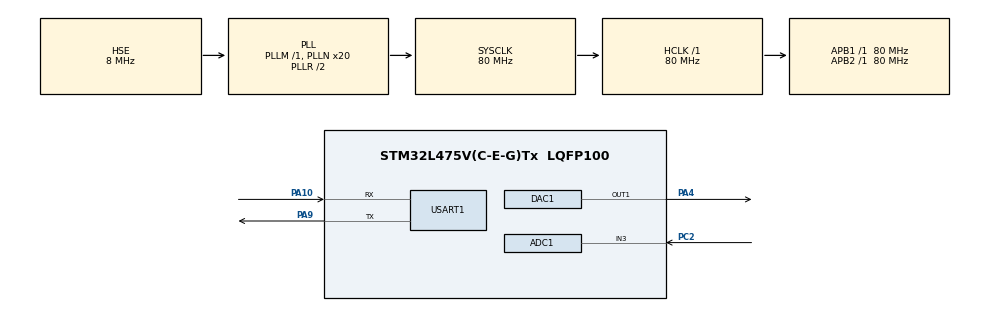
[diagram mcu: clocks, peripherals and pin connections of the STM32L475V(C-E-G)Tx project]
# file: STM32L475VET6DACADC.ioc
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ADC1.Channel-0\#ChannelRegularConversion=ADC_CHANNEL_3
ADC1.ClockPrescaler=ADC_CLOCK_SYNC_PCLK_DIV2
ADC1.EnableInjectedConversion=ENABLE
ADC1.NbrOfConversionFlag=1
ADC1.OffsetNumber-0\#ChannelRegularConversion=ADC_OFFSET_NONE
ADC1.Rank-0\#ChannelRegularConversion=1
ADC1.SamplingTime-0\#ChannelRegularConversion=ADC_SAMPLETIME_2CYCLES_5
ADC1.master=1
Mcu.Family=STM32L4
Mcu.Name=STM32L475V(C-E-G)Tx
Mcu.Package=LQFP100
NVIC.ADC1_2_IRQn=true\:0\:0\:false\:false\:true\:true\:true\:true
NVIC.PriorityGroup=NVIC_PRIORITYGROUP_4
PA10.Mode=Asynchronous
PA10.Signal=USART1_RX
PA13\ (JTMS-SWDIO).Mode=Serial_Wire
PA13\ (JTMS-SWDIO).Signal=SYS_JTMS-SWDIO
PA14\ (JTCK-SWCLK).Mode=Serial_Wire
PA14\ (JTCK-SWCLK).Signal=SYS_JTCK-SWCLK
PA4.Signal=COMP_DAC11_group
PA9.Mode=Asynchronous
PA9.Signal=USART1_TX
PC14-OSC32_IN\ (PC14).Mode=LSE-External-Oscillator
PC14-OSC32_IN\ (PC14).Signal=RCC_OSC32_IN
PC15-OSC32_OUT\ (PC15).Mode=LSE-External-Oscillator
PC15-OSC32_OUT\ (PC15).Signal=RCC_OSC32_OUT
PC2.Signal=ADCx_IN3
PH0-OSC_IN\ (PH0).Mode=HSE-External-Oscillator
PH0-OSC_IN\ (PH0).Signal=RCC_OSC_IN
PH1-OSC_OUT\ (PH1).Mode=HSE-External-Oscillator
PH1-OSC_OUT\ (PH1).Signal=RCC_OSC_OUT
ProjectManager.HeapSize=0x200
ProjectManager.StackSize=0x400
ProjectManager.TargetToolchain=MDK-ARM V5.32
RCC.ADCFreq_Value=32000000
RCC.AHBFreq_Value=80000000
RCC.APB1Freq_Value=80000000
RCC.APB1TimFreq_Value=80000000
RCC.APB2Freq_Value=80000000
RCC.APB2TimFreq_Value=80000000
RCC.CortexFreq_Value=80000000
RCC.HCLKFreq_Value=80000000
RCC.HSE_VALUE=8000000
RCC.HSI_VALUE=16000000
RCC.MSI_VALUE=4000000
RCC.PLLN=20
RCC.PLLSourceVirtual=RCC_PLLSOURCE_HSE
RCC.SYSCLKFreq_VALUE=80000000
RCC.SYSCLKSource=RCC_SYSCLKSOURCE_PLLCLK
RCC.USBFreq_Value=32000000
RCC.VCOOutputFreq_Value=160000000
SH.ADCx_IN3.0=ADC1_IN3,IN3-Single-Ended
SH.COMP_DAC11_group.0=DAC1_OUT1,DAC_OUT1_ExtAndInt
USART1.VirtualMode-Asynchronous=VM_ASYNC
board=custom

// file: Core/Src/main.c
/* USER CODE BEGIN Header */
/**
  ******************************************************************************
  * @file           : main.c
  * @brief          : Main program body
  ******************************************************************************
  * @attention
  *
  * Copyright (c) 2023 STMicroelectronics.
  * All rights reserved.
  *
  * This software is licensed under terms that can be found in the LICENSE file
  * in the root directory of this software component.
  * If no LICENSE file comes with this software, it is provided AS-IS.
  *
  ******************************************************************************
  */
/* USER CODE END Header */
#include "main.h"
#include "adc.h"
#include "dac.h"
#include "usart.h"
#include "gpio.h"

/* USER CODE BEGIN Includes */
#include <stdio.h>

/* USER CODE END Includes */

/* USER CODE BEGIN PV */

uint16_t ADC_value = 0;
uint16_t DAC_value = 0;

/* USER CODE END PV */

void SystemClock_Config(void);

/* USER CODE BEGIN 0 */

//include <stdio.h>
int fputc(int ch, FILE *f)
{
  HAL_UART_Transmit(&huart1, (uint8_t *)&ch, 1, 0xFFFF);
  return ch;
}

/* USER CODE END 0 */

int main(void)
{

  /* MCU Configuration--------------------------------------------------------*/

  /* Reset of all peripherals, Initializes the Flash interface and the Systick. */
  HAL_Init();

  /* Configure the system clock */
  SystemClock_Config();

  /* Initialize all configured peripherals */
  MX_GPIO_Init();
  MX_ADC1_Init();
  MX_DAC1_Init();
  MX_USART1_UART_Init();
  /* USER CODE BEGIN 2 */
  HAL_ADCEx_Calibration_Start(&hadc1,ADC_SINGLE_ENDED);

  HAL_DAC_Start(&hdac1,DAC_CHANNEL_1);
  HAL_DAC_SetValue(&hdac1,DAC_CHANNEL_1,DAC_ALIGN_12B_R,2048);

  /* USER CODE END 2 */

  /* Infinite loop */
  /* USER CODE BEGIN WHILE */
  while (1)
  {
	  DAC_value += 500;
	  if(DAC_value >= 4095) DAC_value = 0;
	  HAL_DAC_Start(&hdac1,DAC_CHANNEL_1);
	  HAL_DAC_SetValue(&hdac1,DAC_CHANNEL_1,DAC_ALIGN_12B_R,DAC_value);
	  printf("Seting voltage is %.5f V \r\n",DAC_value*3.3f/4095);
	  HAL_Delay(10);
	  HAL_ADC_Start(&hadc1);
	  HAL_ADC_PollForConversion(&hadc1,50);

	  if(HAL_IS_BIT_SET(HAL_ADC_GetState(&hadc1), HAL_ADC_STATE_REG_EOC))
	  {
		ADC_value = HAL_ADC_GetValue(&hadc1);
		  HAL_ADC_Stop(&hadc1);
		printf("Voltage is %.5f V\r\n", ADC_value*3.3f/4096);
	  }
	  printf("\r\n");
	  HAL_DAC_Stop(&hdac1,DAC_CHANNEL_1);
	  HAL_Delay(1000);
    /* USER CODE END WHILE */

  }
}

void SystemClock_Config(void)
{
  RCC_OscInitTypeDef RCC_OscInitStruct = {0};
  RCC_ClkInitTypeDef RCC_ClkInitStruct = {0};

  /** Configure the main internal regulator output voltage
  */
  if (HAL_PWREx_ControlVoltageScaling(PWR_REGULATOR_VOLTAGE_SCALE1) != HAL_OK)
  {
    Error_Handler();
  }

  /** Initializes the RCC Oscillators according to the specified parameters
  * in the RCC_OscInitTypeDef structure.
  */
  RCC_OscInitStruct.OscillatorType = RCC_OSCILLATORTYPE_HSE;
  RCC_OscInitStruct.HSEState = RCC_HSE_ON;
  RCC_OscInitStruct.PLL.PLLState = RCC_PLL_ON;
  RCC_OscInitStruct.PLL.PLLSource = RCC_PLLSOURCE_HSE;
  RCC_OscInitStruct.PLL.PLLM = 1;
  RCC_OscInitStruct.PLL.PLLN = 20;
  RCC_OscInitStruct.PLL.PLLP = RCC_PLLP_DIV7;
  RCC_OscInitStruct.PLL.PLLQ = RCC_PLLQ_DIV2;
  RCC_OscInitStruct.PLL.PLLR = RCC_PLLR_DIV2;
  if (HAL_RCC_OscConfig(&RCC_OscInitStruct) != HAL_OK)
  {
    Error_Handler();
  }

  /** Initializes the CPU, AHB and APB buses clocks
  */
  RCC_ClkInitStruct.ClockType = RCC_CLOCKTYPE_HCLK|RCC_CLOCKTYPE_SYSCLK
                              |RCC_CLOCKTYPE_PCLK1|RCC_CLOCKTYPE_PCLK2;
  RCC_ClkInitStruct.SYSCLKSource = RCC_SYSCLKSOURCE_PLLCLK;
  RCC_ClkInitStruct.AHBCLKDivider = RCC_SYSCLK_DIV1;
  RCC_ClkInitStruct.APB1CLKDivider = RCC_HCLK_DIV1;
  RCC_ClkInitStruct.APB2CLKDivider = RCC_HCLK_DIV1;

  if (HAL_RCC_ClockConfig(&RCC_ClkInitStruct, FLASH_LATENCY_4) != HAL_OK)
  {
    Error_Handler();
  }
}

void Error_Handler(void)
{
  __disable_irq();
  while (1)
  {
  }
}
